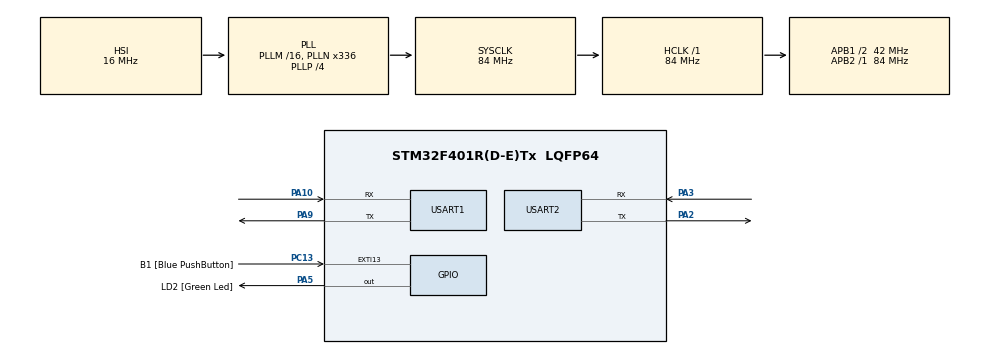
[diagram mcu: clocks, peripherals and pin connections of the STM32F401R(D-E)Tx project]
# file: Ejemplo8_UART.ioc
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Mcu.Family=STM32F4
Mcu.Name=STM32F401R(D-E)Tx
Mcu.Package=LQFP64
NVIC.PriorityGroup=NVIC_PRIORITYGROUP_0
NVIC.USART2_IRQn=true\:0\:0\:false\:false\:true\:true\:true\:true
PA10.Mode=Asynchronous
PA10.Signal=USART1_RX
PA13.Mode=Serial_Wire
PA13.Signal=SYS_JTMS-SWDIO
PA14.Mode=Serial_Wire
PA14.Signal=SYS_JTCK-SWCLK
PA2.Mode=Asynchronous
PA2.Signal=USART2_TX
PA3.Mode=Asynchronous
PA3.Signal=USART2_RX
PA5.GPIO_Label=LD2 [Green Led]
PA5.GPIO_Mode=GPIO_MODE_OUTPUT_PP
PA5.GPIO_PuPd=GPIO_NOPULL
PA5.GPIO_Speed=GPIO_SPEED_FREQ_LOW
PA5.Signal=GPIO_Output
PA9.Mode=Asynchronous
PA9.Signal=USART1_TX
PC13-ANTI_TAMP.GPIO_Label=B1 [Blue PushButton]
PC13-ANTI_TAMP.GPIO_ModeDefaultEXTI=GPIO_MODE_IT_FALLING
PC13-ANTI_TAMP.GPIO_PuPd=GPIO_NOPULL
PC13-ANTI_TAMP.Signal=GPXTI13
ProjectManager.HeapSize=0x200
ProjectManager.StackSize=0x400
ProjectManager.TargetToolchain=STM32CubeIDE
RCC.AHBFreq_Value=84000000
RCC.APB1CLKDivider=RCC_HCLK_DIV2
RCC.APB1Freq_Value=42000000
RCC.APB1TimFreq_Value=84000000
RCC.APB2Freq_Value=84000000
RCC.APB2TimFreq_Value=84000000
RCC.CortexFreq_Value=84000000
RCC.HCLKFreq_Value=84000000
RCC.HSE_VALUE=8000000
RCC.HSI_VALUE=16000000
RCC.LSE_VALUE=32768
RCC.PLLN=336
RCC.PLLP=RCC_PLLP_DIV4
RCC.PLLQ=7
RCC.SYSCLKFreq_VALUE=84000000
RCC.SYSCLKSource=RCC_SYSCLKSOURCE_PLLCLK
RCC.VCOOutputFreq_Value=336000000
USART1.VirtualMode=VM_ASYNC
USART2.VirtualMode=VM_ASYNC
board=NUCLEO-F401RE

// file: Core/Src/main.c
/* USER CODE BEGIN Header */
/**
  ******************************************************************************
  * @file           : main.c
  * @brief          : Main program body
  ******************************************************************************
  * @attention
  *
  * Copyright (c) 2023 STMicroelectronics.
  * All rights reserved.
  *
  * This software is licensed under terms that can be found in the LICENSE file
  * in the root directory of this software component.
  * If no LICENSE file comes with this software, it is provided AS-IS.
  *
  ******************************************************************************
  */
/* USER CODE END Header */
#include "main.h"

/* USER CODE BEGIN Includes */
#include <string.h>
#include <stdio.h>
#include <stdlib.h>
/* USER CODE END Includes */

UART_HandleTypeDef huart1;
UART_HandleTypeDef huart2;

void SystemClock_Config(void);
static void MX_GPIO_Init(void);
static void MX_USART2_UART_Init(void);
static void MX_USART1_UART_Init(void);

/* USER CODE BEGIN 0 */
uint8_t dato_Tx[] = "STM32 con Hal\n\r Intr. Godo\n\r";
char rx;
/*
#ifdef __GNUC__
#define PUTCHAR_PROTOTYPE int __io_putchar(int ch);
#else
#define PUTCHAR_PROTOTYPE int	fputc (int ch);
#endif
*/
int __io_putchar(int ch)
{
	HAL_UART_Transmit(&huart2, (uint8_t *)&ch,1, HAL_MAX_DELAY);
	HAL_UART_Transmit(&huart1, (uint8_t *)&ch,1, HAL_MAX_DELAY);
	return ch;
}

/* USER CODE END 0 */

int main(void)
{

  /* MCU Configuration--------------------------------------------------------*/

  /* Reset of all peripherals, Initializes the Flash interface and the Systick. */
  HAL_Init();

  /* Configure the system clock */
  SystemClock_Config();

  /* Initialize all configured peripherals */
  MX_GPIO_Init();
  MX_USART2_UART_Init();
  MX_USART1_UART_Init();
  /* USER CODE BEGIN 2 */
  HAL_UART_Receive_IT(&huart2,& rx, 1);
  char c='a';
  uint8_t i=25;
  float pi =3.1416;
  char s[] = "hola stm32";
  /* USER CODE END 2 */

  /* Infinite loop */
  /* USER CODE BEGIN WHILE */
  while (1)
  {
	//  HAL_UART_Transmit(&huart2, dato_Tx, strlen(dato_Tx), 0xff);
	  //HAL_UART_Transmit(&huart1, dato_Tx, strlen(dato_Tx), 0xff);
	  printf("INTR GODO PRESENTA v2:\n\r");
	  printf("EL char es:%c\n\r",c);
	  printf("El entero es: %u\n\r",i);
	  printf("El float es: %0.3f\n\r",pi);
	  printf("El string es :%s\n\r",s);
	  HAL_Delay(500);

    /* USER CODE END WHILE */

  }
}

void SystemClock_Config(void)
{
  RCC_OscInitTypeDef RCC_OscInitStruct = {0};
  RCC_ClkInitTypeDef RCC_ClkInitStruct = {0};

  /** Configure the main internal regulator output voltage
  */
  __HAL_RCC_PWR_CLK_ENABLE();
  __HAL_PWR_VOLTAGESCALING_CONFIG(PWR_REGULATOR_VOLTAGE_SCALE2);

  /** Initializes the RCC Oscillators according to the specified parameters
  * in the RCC_OscInitTypeDef structure.
  */
  RCC_OscInitStruct.OscillatorType = RCC_OSCILLATORTYPE_HSI;
  RCC_OscInitStruct.HSIState = RCC_HSI_ON;
  RCC_OscInitStruct.HSICalibrationValue = RCC_HSICALIBRATION_DEFAULT;
  RCC_OscInitStruct.PLL.PLLState = RCC_PLL_ON;
  RCC_OscInitStruct.PLL.PLLSource = RCC_PLLSOURCE_HSI;
  RCC_OscInitStruct.PLL.PLLM = 16;
  RCC_OscInitStruct.PLL.PLLN = 336;
  RCC_OscInitStruct.PLL.PLLP = RCC_PLLP_DIV4;
  RCC_OscInitStruct.PLL.PLLQ = 7;
  if (HAL_RCC_OscConfig(&RCC_OscInitStruct) != HAL_OK)
  {
    Error_Handler();
  }

  /** Initializes the CPU, AHB and APB buses clocks
  */
  RCC_ClkInitStruct.ClockType = RCC_CLOCKTYPE_HCLK|RCC_CLOCKTYPE_SYSCLK
                              |RCC_CLOCKTYPE_PCLK1|RCC_CLOCKTYPE_PCLK2;
  RCC_ClkInitStruct.SYSCLKSource = RCC_SYSCLKSOURCE_PLLCLK;
  RCC_ClkInitStruct.AHBCLKDivider = RCC_SYSCLK_DIV1;
  RCC_ClkInitStruct.APB1CLKDivider = RCC_HCLK_DIV2;
  RCC_ClkInitStruct.APB2CLKDivider = RCC_HCLK_DIV1;

  if (HAL_RCC_ClockConfig(&RCC_ClkInitStruct, FLASH_LATENCY_2) != HAL_OK)
  {
    Error_Handler();
  }
}

static void MX_USART1_UART_Init(void)
{

  huart1.Instance = USART1;
  huart1.Init.BaudRate = 115200;
  huart1.Init.WordLength = UART_WORDLENGTH_8B;
  huart1.Init.StopBits = UART_STOPBITS_1;
  huart1.Init.Parity = UART_PARITY_NONE;
  huart1.Init.Mode = UART_MODE_TX_RX;
  huart1.Init.HwFlowCtl = UART_HWCONTROL_NONE;
  huart1.Init.OverSampling = UART_OVERSAMPLING_16;
  if (HAL_UART_Init(&huart1) != HAL_OK)
  {
    Error_Handler();
  }

}

static void MX_USART2_UART_Init(void)
{

  huart2.Instance = USART2;
  huart2.Init.BaudRate = 115200;
  huart2.Init.WordLength = UART_WORDLENGTH_8B;
  huart2.Init.StopBits = UART_STOPBITS_1;
  huart2.Init.Parity = UART_PARITY_NONE;
  huart2.Init.Mode = UART_MODE_TX_RX;
  huart2.Init.HwFlowCtl = UART_HWCONTROL_NONE;
  huart2.Init.OverSampling = UART_OVERSAMPLING_16;
  if (HAL_UART_Init(&huart2) != HAL_OK)
  {
    Error_Handler();
  }

}

static void MX_GPIO_Init(void)
{
  GPIO_InitTypeDef GPIO_InitStruct = {0};

  /* GPIO Ports Clock Enable */
  __HAL_RCC_GPIOC_CLK_ENABLE();
  __HAL_RCC_GPIOA_CLK_ENABLE();

  /*Configure GPIO pin Output Level */
  HAL_GPIO_WritePin(LD2_GPIO_Port, LD2_Pin, GPIO_PIN_RESET);

  /*Configure GPIO pin : B1_Pin */
  GPIO_InitStruct.Pin = B1_Pin;
  GPIO_InitStruct.Mode = GPIO_MODE_IT_FALLING;
  GPIO_InitStruct.Pull = GPIO_NOPULL;
  HAL_GPIO_Init(B1_GPIO_Port, &GPIO_InitStruct);

  /*Configure GPIO pin : LD2_Pin */
  GPIO_InitStruct.Pin = LD2_Pin;
  GPIO_InitStruct.Mode = GPIO_MODE_OUTPUT_PP;
  GPIO_InitStruct.Pull = GPIO_NOPULL;
  GPIO_InitStruct.Speed = GPIO_SPEED_FREQ_LOW;
  HAL_GPIO_Init(LD2_GPIO_Port, &GPIO_InitStruct);

}

/* USER CODE BEGIN 4 */
void HAL_UART_RxCpltCallback(UART_HandleTypeDef *huart){

	if (rx=='a') HAL_GPIO_WritePin(LD2_GPIO_Port, LD2_Pin, 1);
	else if(rx=='b')HAL_GPIO_WritePin(LD2_GPIO_Port, LD2_Pin, 0);

	  HAL_UART_Receive_IT(&huart2,&rx, 1);
}
/* USER CODE END 4 */

void Error_Handler(void)
{
  __disable_irq();
  while (1)
  {
  }
}
